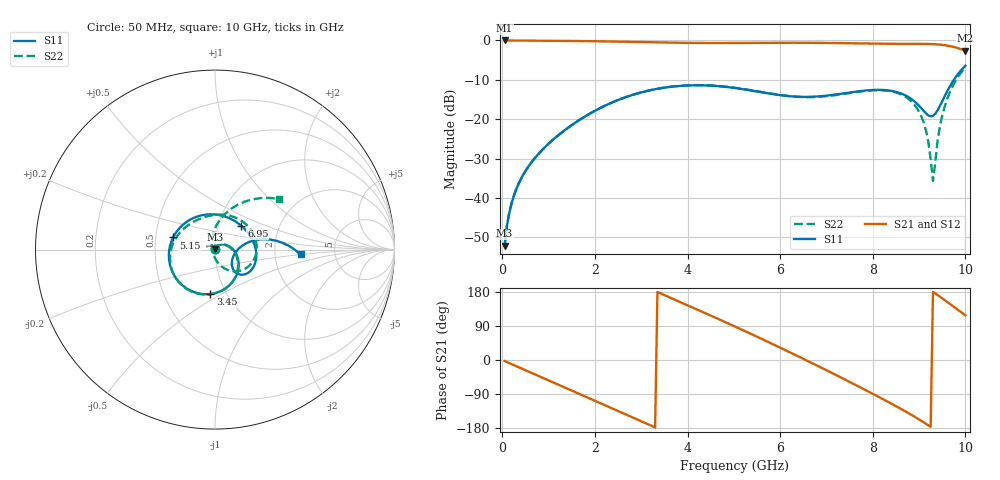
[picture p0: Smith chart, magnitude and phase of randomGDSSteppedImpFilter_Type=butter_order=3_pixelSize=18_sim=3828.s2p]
! freq	dB(S11)	phase(S11)	dB(S12)	phase(S12)
!  dB(S21)	phase(S21)	dB(S22)	phase(S22)
!S-par simulation data
#  GHz  S  DB  R 50
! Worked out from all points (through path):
!   200 points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, 50 MHz to 10 GHz, reference 50 ohm
!   highest |S21| = -0.01 dB at 50 MHz (marker M1); lowest = -2.6 dB at 10 GHz (marker M2)
!   group delay of S21, straight-line fit = 161 ps
!   lowest |S11| = -52.1 dB at 50 MHz (marker M3), VSWR 1.00, Z = 50.1 + j0.24 ohm
!   |S11| at or under -10 dB: start of sweep to 9.752 GHz
!   |S22| runs from -52.2 to -6.9 dB; largest |S21 - S12| = 0
!   S11 on the Smith chart (normalised r, x): 50 MHz: 1.00, +0.00; 3.45 GHz: 0.84, -0.44; 5.15 GHz: 0.62, +0.09; 6.95 GHz: 1.29, +0.35; 10 GHz: 2.81, -0.20
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0.05  -52.10 74.9  -0.01 -2.7  -0.01 -2.7  -52.23 73.6
0.2  -41.34 75.2  -0.02 -10.8  -0.02 -10.8  -41.32 74.1
0.5  -33.15 62.3  -0.04 -26.9  -0.04 -26.9  -33.14 60.6
1.15  -24.65 29.4  -0.09 -61.8  -0.09 -61.8  -24.64 26.3
1.75  -19.56 -2.4  -0.16 -94.1  -0.16 -94.1  -19.56 -5.4
2.65  -14.47 -51.7  -0.34 -142.8  -0.34 -142.8  -14.46 -53.3
3.4  -12.18 -93.3  -0.52 176.8  -0.52 176.8  -12.16 -92.5
3.45  -12.09 -96.1  -0.53 174.1  -0.53 174.1  -12.07 -95.0
4.35  -11.41 -147.2  -0.65 125.5  -0.65 125.5  -11.36 -140.7
5.05  -12.12 170.2  -0.64 86.9  -0.64 86.9  -12.05 -175.2
5.15  -12.30 163.8  -0.64 81.3  -0.64 81.3  -12.22 179.9
6  -13.89 105.8  -0.59 32.6  -0.59 32.6  -13.85 139.0
6.7  -14.29 57.5  -0.61 -8.9  -0.61 -8.9  -14.39 102.6
6.95  -14.08 41.9  -0.63 -24.0  -0.63 -24.0  -14.22 87.9
7.7  -12.90 0.9  -0.75 -70.2  -0.75 -70.2  -13.02 38.2
8.35  -12.71 -30.1  -0.86 -111.8  -0.86 -111.8  -12.83 -8.5
9  -16.60 -47.1  -0.87 -156.8  -0.87 -156.8  -18.10 -61.1
9.2  -19.03 -31.4  -0.90 -172.2  -0.90 -172.2  -25.76 -88.1
9.3  -19.15 -14.5  -0.94 179.7  -0.94 179.7  -35.66 -161.6
9.4  -17.71 1.6  -1.01 171.4  -1.01 171.4  -25.42 109.7
9.55  -14.21 12.7  -1.20 158.4  -1.20 158.4  -16.86 85.1
10  -6.42 -3.3  -2.62 117.8  -2.62 117.8  -6.86 38.4
